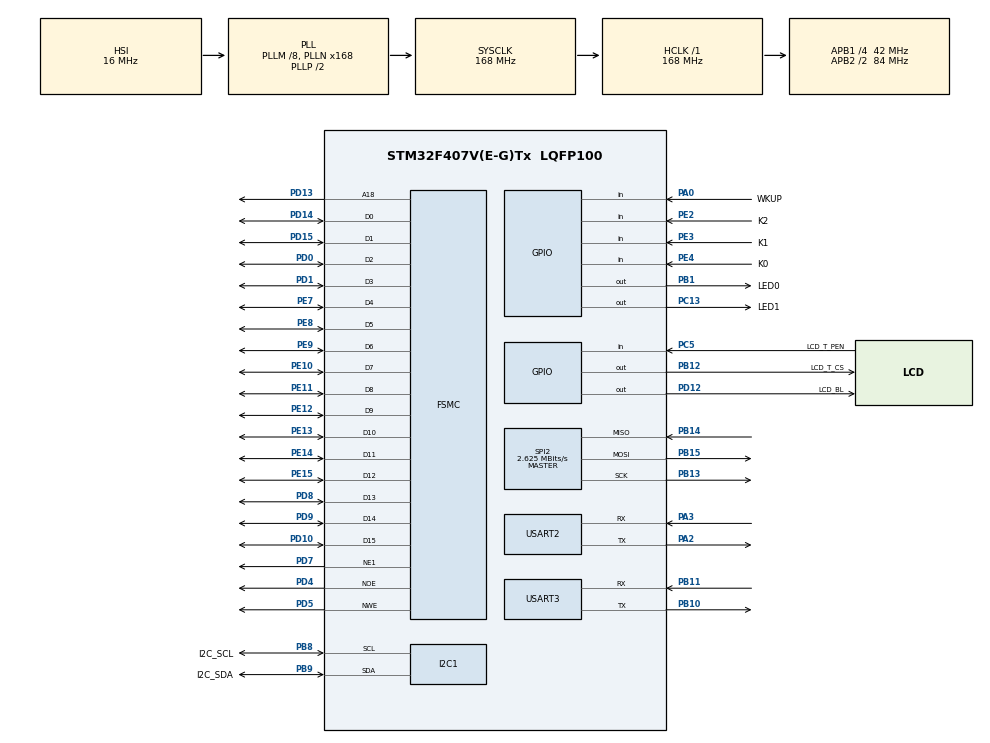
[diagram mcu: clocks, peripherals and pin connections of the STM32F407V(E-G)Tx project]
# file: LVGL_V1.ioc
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FSMC.AddressSetupTime1=15
FSMC.BusTurnAroundDuration1=0
FSMC.DataSetupTime1=60
FSMC.ExtendedAddressSetupTime1=9
FSMC.ExtendedBusTurnAroundDuration1=0
FSMC.ExtendedDataSetupTime1=8
FSMC.ExtendedMode1=FSMC_EXTENDED_MODE_ENABLE
Mcu.Family=STM32F4
Mcu.Name=STM32F407V(E-G)Tx
Mcu.Package=LQFP100
NVIC.PriorityGroup=NVIC_PRIORITYGROUP_4
NVIC.TIM6_DAC_IRQn=true\:0\:0\:false\:false\:true\:true\:true
NVIC.USART2_IRQn=true\:1\:0\:true\:false\:true\:true\:true
PA0-WKUP.GPIO_Label=WKUP
PA0-WKUP.GPIO_PuPd=GPIO_PULLDOWN
PA0-WKUP.Signal=GPIO_Input
PA13.Mode=Serial_Wire
PA13.Signal=SYS_JTMS-SWDIO
PA14.Mode=Serial_Wire
PA14.Signal=SYS_JTCK-SWCLK
PA2.Mode=Asynchronous
PA2.Signal=USART2_TX
PA3.Mode=Asynchronous
PA3.Signal=USART2_RX
PB1.GPIO_Label=LED0
PB1.GPIO_PuPd=GPIO_PULLUP
PB1.GPIO_Speed=GPIO_SPEED_FREQ_HIGH
PB1.Signal=GPIO_Output
PB10.Mode=Asynchronous
PB10.Signal=USART3_TX
PB11.Mode=Asynchronous
PB11.Signal=USART3_RX
PB12.GPIO_Label=LCD_T_CS
PB12.GPIO_PuPd=GPIO_PULLUP
PB12.GPIO_Speed=GPIO_SPEED_FREQ_HIGH
PB12.PinState=GPIO_PIN_SET
PB12.Signal=GPIO_Output
PB13.GPIO_PuPd=GPIO_PULLUP
PB13.Mode=Full_Duplex_Master
PB13.Signal=SPI2_SCK
PB14.GPIO_PuPd=GPIO_PULLUP
PB14.Mode=Full_Duplex_Master
PB14.Signal=SPI2_MISO
PB15.GPIO_PuPd=GPIO_PULLUP
PB15.Mode=Full_Duplex_Master
PB15.Signal=SPI2_MOSI
PB8.GPIO_Label=I2C_SCL
PB8.GPIO_Pu=GPIO_PULLUP
PB8.Mode=I2C
PB8.Signal=I2C1_SCL
PB9.GPIO_Label=I2C_SDA
PB9.GPIO_Pu=GPIO_PULLUP
PB9.Mode=I2C
PB9.Signal=I2C1_SDA
PC13-ANTI_TAMP.GPIO_Label=LED1
PC13-ANTI_TAMP.GPIO_PuPd=GPIO_PULLUP
PC13-ANTI_TAMP.Signal=GPIO_Output
PC5.GPIO_Label=LCD_T_PEN
PC5.GPIO_PuPd=GPIO_PULLUP
PC5.Signal=GPIO_Input
PD0.Mode=16b-d1
PD0.Signal=FSMC_D2
PD1.Mode=16b-d1
PD1.Signal=FSMC_D3
PD10.Mode=16b-d1
PD10.Signal=FSMC_D15
PD12.GPIO_Label=LCD_BL
PD12.Signal=GPIO_Output
PD13.Mode=A18_1
PD13.Signal=FSMC_A18
PD14.Mode=16b-d1
PD14.Signal=FSMC_D0
PD15.Mode=16b-d1
PD15.Signal=FSMC_D1
PD4.Mode=Lcd1
PD4.Signal=FSMC_NOE
PD5.Mode=Lcd1
PD5.Signal=FSMC_NWE
PD7.Mode=NorPsramChipSelect1_1
PD7.Signal=FSMC_NE1
PD8.Mode=16b-d1
PD8.Signal=FSMC_D13
PD9.Mode=16b-d1
PD9.Signal=FSMC_D14
PE10.Mode=16b-d1
PE10.Signal=FSMC_D7
PE11.Mode=16b-d1
PE11.Signal=FSMC_D8
PE12.Mode=16b-d1
PE12.Signal=FSMC_D9
PE13.Mode=16b-d1
PE13.Signal=FSMC_D10
PE14.Mode=16b-d1
PE14.Signal=FSMC_D11
PE15.Mode=16b-d1
PE15.Signal=FSMC_D12
PE2.GPIO_Label=K2
PE2.GPIO_PuPd=GPIO_PULLUP
PE2.Signal=GPIO_Input
PE3.GPIO_Label=K1
PE3.GPIO_PuPd=GPIO_PULLUP
PE3.Signal=GPIO_Input
PE4.GPIO_Label=K0
PE4.GPIO_PuPd=GPIO_PULLUP
PE4.Signal=GPIO_Input
PE7.Mode=16b-d1
PE7.Signal=FSMC_D4
PE8.Mode=16b-d1
PE8.Signal=FSMC_D5
PE9.Mode=16b-d1
PE9.Signal=FSMC_D6
PH0-OSC_IN.Mode=HSE-External-Oscillator
PH0-OSC_IN.Signal=RCC_OSC_IN
PH1-OSC_OUT.Mode=HSE-External-Oscillator
PH1-OSC_OUT.Signal=RCC_OSC_OUT
ProjectManager.HeapSize=0x1000
ProjectManager.StackSize=0x1000
ProjectManager.TargetToolchain=MDK-ARM V5
RCC.48MHZClocksFreq_Value=84000000
RCC.AHBFreq_Value=168000000
RCC.APB1CLKDivider=RCC_HCLK_DIV4
RCC.APB1Freq_Value=42000000
RCC.APB1TimFreq_Value=84000000
RCC.APB2CLKDivider=RCC_HCLK_DIV2
RCC.APB2Freq_Value=84000000
RCC.APB2TimFreq_Value=168000000
RCC.CortexFreq_Value=168000000
RCC.HCLKFreq_Value=168000000
RCC.HSE_VALUE=25000000
RCC.HSI_VALUE=16000000
RCC.LSE_VALUE=32768
RCC.PLLM=8
RCC.PLLN=168
RCC.SYSCLKFreq_VALUE=168000000
RCC.SYSCLKSource=RCC_SYSCLKSOURCE_PLLCLK
RCC.VCOOutputFreq_Value=336000000
SPI2.BaudRatePrescaler=SPI_BAUDRATEPRESCALER_16
SPI2.CalculateBaudRate=2.625 MBits/s
SPI2.Direction=SPI_DIRECTION_2LINES
SPI2.Mode=SPI_MODE_MASTER
SPI2.VirtualType=VM_MASTER
TIM6.AutoReloadPreload=TIM_AUTORELOAD_PRELOAD_ENABLE
TIM6.Period=1000-1
TIM6.Prescaler=84
USART2.VirtualMode=VM_ASYNC
USART3.VirtualMode=VM_ASYNC
VP_TIM6_VS_ClockSourceINT.Mode=Enable_Timer
board=custom

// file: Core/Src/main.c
/* USER CODE BEGIN Header */
/**
  ******************************************************************************
  * @file           : main.c
  * @brief          : Main program body
  ******************************************************************************
  * @attention
  *
  * Copyright (c) 2025 STMicroelectronics.
  * All rights reserved.
  *
  * This software is licensed under terms that can be found in the LICENSE file
  * in the root directory of this software component.
  * If no LICENSE file comes with this software, it is provided AS-IS.
  *
  ******************************************************************************
  */
/* USER CODE END Header */
#include "main.h"
#include "i2c.h"
#include "spi.h"
#include "tim.h"
#include "usart.h"
#include "gpio.h"
#include "fsmc.h"

/* USER CODE BEGIN Includes */
#include "stdio.h"
#include "lcd.h"
#include "touch.h"

#include "esp.h"

/* USER CODE END Includes */

void SystemClock_Config(void);

/* USER CODE BEGIN 0 */

/*
for循环实现延时us
*/
void for_delay_us(uint32_t nus)
{
    uint32_t Delay = nus * 168/4;
    do
    {
        __NOP();
    }
    while (Delay --);
}

static const char *wifi_ssid = "RK50U";
static const char *wifi_password = "12345678";
static const char *weather_uri = "https://api.seniverse.com/v3/weather/now.json?key=SZuZdJEYI7cY_ghfz&location=xian&language=en&unit=c";
/* USER CODE END 0 */

int main(void)
{

  /* MCU Configuration--------------------------------------------------------*/

  /* Reset of all peripherals, Initializes the Flash interface and the Systick. */
  HAL_Init();

  /* Configure the system clock */
  SystemClock_Config();

  /* Initialize all configured peripherals */
  MX_GPIO_Init();
  MX_USART2_UART_Init();
  MX_FSMC_Init();
  MX_SPI2_Init();
  MX_I2C1_Init();
  MX_TIM6_Init();
  MX_USART3_UART_Init();
  /* USER CODE BEGIN 2 */
	// LCD 触摸屏初始化
	lcd_init();
	g_point_color = RED;
  //tp_dev.init();

	// LVGL初始化
	lv_init();                             // LVGL 初始化
	lv_port_disp_init();                   // 注册LVGL的显示任务
	//lv_port_indev_init();                  // 注册LVGL的触屏检测任务

	// 开启LVGL时钟
	HAL_TIM_Base_Start_IT(&htim6);
	ui_create();              // 创建初始界面
	lv_timer_handler();				// LVGL 内部任务处理

	if (!esp_at_init())
	{
			while (1);
	}
	if (!esp_at_wifi_init())
	{
			while (1);
	}
	if (!esp_at_wifi_connect(wifi_ssid, wifi_password))
	{
			printf("Dead in esp_at_wifi_connect\r\n");
			while (1);
	}
	bool weather_ok = false;
	uint32_t t = 0;

  /* USER CODE END 2 */

  /* Infinite loop */
  while (1)
  {

    /* USER CODE BEGIN 3 */
		lv_task_handler();    // LVGL 内部任务处理
		HAL_Delay(5);

		t++;
    HAL_Delay(1000);

		if (!weather_ok || t % 10 == 0)
		{
				const char *rsp;
				weather_ok = esp_at_http_get(weather_uri, &rsp, NULL, 10000);
				weather_t weather;

				weather_parse(rsp, &weather);

				printf("rsp: %s\r\n", rsp);
			  printf("temperature: %s\r\n", weather.temperature);
				printf("weather: %s\r\n", weather.weather);

				ui_update_weather_info(&weather);
		}
  }
  /* USER CODE END 3 */
}

void SystemClock_Config(void)
{
  RCC_OscInitTypeDef RCC_OscInitStruct = {0};
  RCC_ClkInitTypeDef RCC_ClkInitStruct = {0};

  /** Configure the main internal regulator output voltage
  */
  __HAL_RCC_PWR_CLK_ENABLE();
  __HAL_PWR_VOLTAGESCALING_CONFIG(PWR_REGULATOR_VOLTAGE_SCALE1);
  /** Initializes the RCC Oscillators according to the specified parameters
  * in the RCC_OscInitTypeDef structure.
  */
  RCC_OscInitStruct.OscillatorType = RCC_OSCILLATORTYPE_HSI;
  RCC_OscInitStruct.HSIState = RCC_HSI_ON;
  RCC_OscInitStruct.HSICalibrationValue = RCC_HSICALIBRATION_DEFAULT;
  RCC_OscInitStruct.PLL.PLLState = RCC_PLL_ON;
  RCC_OscInitStruct.PLL.PLLSource = RCC_PLLSOURCE_HSI;
  RCC_OscInitStruct.PLL.PLLM = 8;
  RCC_OscInitStruct.PLL.PLLN = 168;
  RCC_OscInitStruct.PLL.PLLP = RCC_PLLP_DIV2;
  RCC_OscInitStruct.PLL.PLLQ = 4;
  if (HAL_RCC_OscConfig(&RCC_OscInitStruct) != HAL_OK)
  {
    Error_Handler();
  }
  /** Initializes the CPU, AHB and APB buses clocks
  */
  RCC_ClkInitStruct.ClockType = RCC_CLOCKTYPE_HCLK|RCC_CLOCKTYPE_SYSCLK
                              |RCC_CLOCKTYPE_PCLK1|RCC_CLOCKTYPE_PCLK2;
  RCC_ClkInitStruct.SYSCLKSource = RCC_SYSCLKSOURCE_PLLCLK;
  RCC_ClkInitStruct.AHBCLKDivider = RCC_SYSCLK_DIV1;
  RCC_ClkInitStruct.APB1CLKDivider = RCC_HCLK_DIV4;
  RCC_ClkInitStruct.APB2CLKDivider = RCC_HCLK_DIV2;

  if (HAL_RCC_ClockConfig(&RCC_ClkInitStruct, FLASH_LATENCY_5) != HAL_OK)
  {
    Error_Handler();
  }
}

/* USER CODE BEGIN 4 */
/************************************************************************************
 * @brief       HAL_TIM_PeriodElapsedCallback
 * @note        TIM6回调函数
 *							为LVGL提供1ms的心跳周期，若定时器设置为2ms溢出中断，则lv_tick_inc(2);
 * @param       TIM_HandleTypeDef *htim
 * @retval      无
*************************************************************************************/
void HAL_TIM_PeriodElapsedCallback(TIM_HandleTypeDef *htim)
{
	if (htim->Instance == TIM6) // 判断中断来自TIM6
	{
		lv_tick_inc(1); // 给LVGL提供1ms心跳的心跳周期
		static uint16_t LedTimes = 0;  // LED闪烁计时
		if (LedTimes++ >= 500) //500ms执行一次LED闪烁
		{
			HAL_GPIO_TogglePin(LED1_GPIO_Port,LED1_Pin);
			LedTimes = 0;
		}
	}
}

/* USER CODE END 4 */

void Error_Handler(void)
{
  __disable_irq();
  while (1)
  {
  }
}
